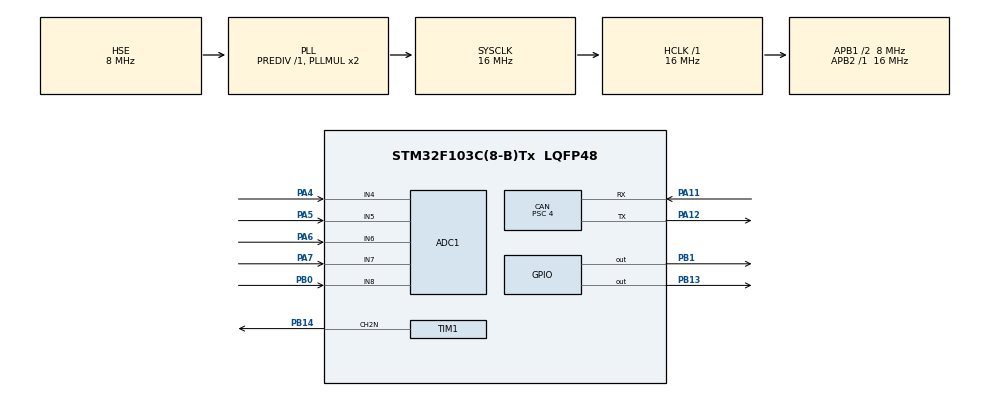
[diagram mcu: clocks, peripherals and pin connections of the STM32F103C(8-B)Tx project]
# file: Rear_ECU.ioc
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ADC1.Channel-2\#ChannelRegularConversion=ADC_CHANNEL_6
ADC1.Channel-3\#ChannelRegularConversion=ADC_CHANNEL_4
ADC1.Channel-4\#ChannelRegularConversion=ADC_CHANNEL_5
ADC1.Channel-5\#ChannelRegularConversion=ADC_CHANNEL_7
ADC1.Channel-6\#ChannelRegularConversion=ADC_CHANNEL_8
ADC1.ContinuousConvMode=ENABLE
ADC1.EnableInjectedConversion=ENABLE
ADC1.NbrOfConversion=5
ADC1.NbrOfConversionFlag=1
ADC1.Rank-2\#ChannelRegularConversion=1
ADC1.Rank-3\#ChannelRegularConversion=2
ADC1.Rank-4\#ChannelRegularConversion=3
ADC1.Rank-5\#ChannelRegularConversion=4
ADC1.Rank-6\#ChannelRegularConversion=5
ADC1.SamplingTime-2\#ChannelRegularConversion=ADC_SAMPLETIME_55CYCLES_5
ADC1.SamplingTime-3\#ChannelRegularConversion=ADC_SAMPLETIME_55CYCLES_5
ADC1.SamplingTime-4\#ChannelRegularConversion=ADC_SAMPLETIME_55CYCLES_5
ADC1.SamplingTime-5\#ChannelRegularConversion=ADC_SAMPLETIME_55CYCLES_5
ADC1.SamplingTime-6\#ChannelRegularConversion=ADC_SAMPLETIME_55CYCLES_5
ADC1.master=1
CAN.BS1=CAN_BS1_15TQ
CAN.BS2=CAN_BS2_2TQ
CAN.CalculateBaudRate=111111
CAN.CalculateTimeBit=9000
CAN.CalculateTimeQuantum=500.0
CAN.NART=ENABLE
CAN.Prescaler=4
Dma.ADC1.0.Direction=DMA_PERIPH_TO_MEMORY
Dma.ADC1.0.Instance=DMA1_Channel1
Dma.ADC1.0.MemDataAlignment=DMA_MDATAALIGN_HALFWORD
Dma.ADC1.0.MemInc=DMA_MINC_ENABLE
Dma.ADC1.0.Mode=DMA_CIRCULAR
Dma.ADC1.0.PeriphDataAlignment=DMA_PDATAALIGN_HALFWORD
Dma.ADC1.0.PeriphInc=DMA_PINC_DISABLE
Dma.ADC1.0.Priority=DMA_PRIORITY_LOW
Dma.Request0=ADC1
Dma.Request1=TIM1_CH2
Dma.TIM1_CH2.1.Direction=DMA_PERIPH_TO_MEMORY
Dma.TIM1_CH2.1.Instance=DMA1_Channel3
Dma.TIM1_CH2.1.MemDataAlignment=DMA_MDATAALIGN_HALFWORD
Dma.TIM1_CH2.1.MemInc=DMA_MINC_ENABLE
Dma.TIM1_CH2.1.Mode=DMA_NORMAL
Dma.TIM1_CH2.1.PeriphDataAlignment=DMA_PDATAALIGN_HALFWORD
Dma.TIM1_CH2.1.PeriphInc=DMA_PINC_DISABLE
Dma.TIM1_CH2.1.Priority=DMA_PRIORITY_LOW
Mcu.Family=STM32F1
Mcu.Name=STM32F103C(8-B)Tx
Mcu.Package=LQFP48
NVIC.ADC1_2_IRQn=true\:0\:0\:false\:false\:true\:true\:true\:true
NVIC.DMA1_Channel1_IRQn=true\:0\:0\:false\:false\:true\:false\:true\:true
NVIC.DMA1_Channel3_IRQn=true\:0\:0\:false\:false\:true\:false\:true\:true
NVIC.PriorityGroup=NVIC_PRIORITYGROUP_4
NVIC.USB_LP_CAN1_RX0_IRQn=true\:0\:0\:false\:false\:true\:true\:true\:true
PA11.Mode=CAN_Activate
PA11.Signal=CAN_RX
PA12.Mode=CAN_Activate
PA12.Signal=CAN_TX
PA13.Mode=Serial_Wire
PA13.Signal=SYS_JTMS-SWDIO
PA14.Mode=Serial_Wire
PA14.Signal=SYS_JTCK-SWCLK
PA4.Signal=ADCx_IN4
PA5.Signal=ADCx_IN5
PA6.Signal=ADCx_IN6
PA7.Signal=ADCx_IN7
PB0.Signal=ADCx_IN8
PB1.Signal=GPIO_Output
PB13.Signal=GPIO_Output
PB14.Mode=PWM Generation2 CH2N
PB14.Signal=TIM1_CH2N
PD0-OSC_IN.Mode=HSE-External-Oscillator
PD0-OSC_IN.Signal=RCC_OSC_IN
PD1-OSC_OUT.Mode=HSE-External-Oscillator
PD1-OSC_OUT.Signal=RCC_OSC_OUT
ProjectManager.HeapSize=0x200
ProjectManager.StackSize=0x400
ProjectManager.TargetToolchain=STM32CubeIDE
RCC.AHBFreq_Value=16000000
RCC.APB1CLKDivider=RCC_HCLK_DIV2
RCC.APB1Freq_Value=8000000
RCC.APB1TimFreq_Value=16000000
RCC.APB2Freq_Value=16000000
RCC.APB2TimFreq_Value=16000000
RCC.HCLKFreq_Value=16000000
RCC.PLLSourceVirtual=RCC_PLLSOURCE_HSE
RCC.SYSCLKFreq_VALUE=16000000
RCC.SYSCLKSource=RCC_SYSCLKSOURCE_PLLCLK
RCC.USBFreq_Value=16000000
SH.ADCx_IN4.0=ADC1_IN4,IN4
SH.ADCx_IN5.0=ADC1_IN5,IN5
SH.ADCx_IN6.0=ADC1_IN6,IN6
SH.ADCx_IN7.0=ADC1_IN7,IN7
SH.ADCx_IN8.0=ADC1_IN8,IN8
TIM1.Channel-PWM\ Generation2\ CH2N=TIM_CHANNEL_2
TIM1.Period=59999
TIM1.Prescaler=11
board=custom

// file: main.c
/* USER CODE BEGIN Header */
/**
  ******************************************************************************
  * @file           : main.c
  * @brief          : Main program body
  ******************************************************************************
  * @attention
  *
  * Copyright (c) 2026 STMicroelectronics.
  * All rights reserved.
  *
  * This software is licensed under terms that can be found in the LICENSE file
  * in the root directory of this software component.
  * If no LICENSE file comes with this software, it is provided AS-IS.
  *
  ******************************************************************************
  */
/* USER CODE END Header */
#include "main.h"

/* USER CODE BEGIN PD */
//----------brake light-----------
#define ADC_BUFF_SIZE 5
#define ADC_BRAKE_INDEX 0

#define Brake_pedal_threshold 150
//------brake light----------

//-----------thermal---------
#define ADC_THERM1_INDEX 1
#define ADC_THERM2_INDEX 2
#define ADC_THERM3_INDEX 3
#define ADC_THERM4_INDEX 4
#define ADC_MAX_VAL 4095      // 12-bit ADC resolution
#define TEMP_MAX_VAL 100.0f      // Max expected stator temp in degrees
#define MDOT_MAX_VAL 0.267f      // Max mass flow rate in kg/s
#define PWM_PERIOD 59999       // PWM Period
#define Table_Size 10
//-----------thermal-----------

/* USER CODE END PD */

ADC_HandleTypeDef hadc1;
DMA_HandleTypeDef hdma_adc1;

CAN_HandleTypeDef hcan;

TIM_HandleTypeDef htim1;
DMA_HandleTypeDef hdma_tim1_ch2;

/* USER CODE BEGIN PV */
//--------brake light--------------
uint16_t adc_buff[ADC_BUFF_SIZE];
volatile uint16_t adc_val=0;
float voltage=0.0f;
//-----------brake light---------

//----------thermals---------------
const float temp_breakpoints[Table_Size] = {0, 50, 55, 60, 65, 70, 75, 80, 85, 90};
const float mdot_data[Table_Size] = {0, 0.005, 0.01, 0.03, 0.06, 0.08, 0.1, 0.1, 0.15, 0.15};

// --- GLOBAL VARIABLES ---
volatile uint32_t adc_raw_value = 0;
float stator_temp = 0.0f;
float target_mdot = 0.0f;
uint32_t pwm_duty_cycle = 0;
//--------thermals-------------

/* USER CODE END PV */

void SystemClock_Config(void);
static void MX_GPIO_Init(void);
static void MX_DMA_Init(void);
static void MX_CAN_Init(void);
static void MX_ADC1_Init(void);
static void MX_TIM1_Init(void);

/* USER CODE BEGIN 0 */
//---------------thermal------------
//Lookup Table Interpolation
float mdot_from_temp(float input_temp) {
	if (input_temp <= temp_breakpoints[0]) {
		return mdot_data[0];
	}
	if (input_temp >= temp_breakpoints[Table_Size - 1]) {
		return mdot_data[Table_Size - 1];
	}
	int i = 0;
	while (temp_breakpoints[i + 1] < input_temp) {
		i++;
	}

	float x0 = temp_breakpoints[i];
	float x1 = temp_breakpoints[i + 1];
	float y0 = mdot_data[i];
	float y1 = mdot_data[i + 1];

	return y0 + ((input_temp - x0) * ((y1 - y0) / (x1 - x0)));
}

// Map Flow Rate to PWM
uint32_t calculate_pwm_duty(float flow_rate) {
	if (flow_rate > MDOT_MAX_VAL) {
		flow_rate = MDOT_MAX_VAL;
	}
	if (flow_rate < 0.0f) {
		flow_rate = 0.0f;
	}
	return (uint32_t) ((flow_rate / MDOT_MAX_VAL) * PWM_PERIOD);
}
//------------thermal--------------------
/* USER CODE END 0 */

int main(void)
{

  /* MCU Configuration--------------------------------------------------------*/

  /* Reset of all peripherals, Initializes the Flash interface and the Systick. */
  HAL_Init();

  /* Configure the system clock */
  SystemClock_Config();

  /* Initialize all configured peripherals */
  MX_GPIO_Init();
  MX_DMA_Init();
  MX_CAN_Init();
  MX_ADC1_Init();
  MX_TIM1_Init();
  /* USER CODE BEGIN 2 */
HAL_ADCEx_Calibration_Start(&hadc1);

HAL_ADC_Start_DMA(&hadc1, (uint32_t*)adc_buff, ADC_BUFF_SIZE);
HAL_TIM_PWM_Start(&htim1,TIM_CHANNEL_2);
  /* USER CODE END 2 */

  /* Infinite loop */
	while (1) {

		/* USER CODE BEGIN 3 */
		//------------ Brake light -----------------
		int sum = 0;

		adc_val = adc_buff[ADC_BRAKE_INDEX];
		voltage = ((float) adc_val * 3.3) / 4095.0f;
		if (adc_val > Brake_pedal_threshold) {
			HAL_GPIO_WritePin(GPIOB, GPIO_PIN_13, GPIO_PIN_SET);
		} else {
			HAL_GPIO_WritePin(GPIOB, GPIO_PIN_13, GPIO_PIN_RESET);
		}
		HAL_Delay(5);
		//---------------brake light --------------------------

		//---------------thermal---------------------

		// READ SENSOR
		float temp_1 = ((float) adc_buff[ADC_THERM1_INDEX] / ADC_MAX_VAL)
				* TEMP_MAX_VAL;
		float temp_2 = ((float) adc_buff[ADC_THERM2_INDEX] / ADC_MAX_VAL)
				* TEMP_MAX_VAL;
		float temp_3 = ((float) adc_buff[ADC_THERM3_INDEX] / ADC_MAX_VAL)
				* TEMP_MAX_VAL;
		float temp_4 = ((float) adc_buff[ADC_THERM4_INDEX] / ADC_MAX_VAL)
				* TEMP_MAX_VAL;
		stator_temp = temp_1;
		if (temp_2 > stator_temp) {
			stator_temp = temp_2;
		}
		if (temp_3 > stator_temp) {
			stator_temp = temp_3;
		}
		if (temp_4 > stator_temp) {
			stator_temp = temp_4;
		}

		// LOGIC (Lookup Table)
		target_mdot = mdot_from_temp(stator_temp);

		// PWM generation
		pwm_duty_cycle = calculate_pwm_duty(target_mdot);
		__HAL_TIM_SET_COMPARE(&htim1, TIM_CHANNEL_2, pwm_duty_cycle);
		//------------------thermal------------
	}
	/* USER CODE END 3 */
}

void SystemClock_Config(void)
{
  RCC_OscInitTypeDef RCC_OscInitStruct = {0};
  RCC_ClkInitTypeDef RCC_ClkInitStruct = {0};
  RCC_PeriphCLKInitTypeDef PeriphClkInit = {0};

  /** Initializes the RCC Oscillators according to the specified parameters
  * in the RCC_OscInitTypeDef structure.
  */
  RCC_OscInitStruct.OscillatorType = RCC_OSCILLATORTYPE_HSE;
  RCC_OscInitStruct.HSEState = RCC_HSE_ON;
  RCC_OscInitStruct.HSEPredivValue = RCC_HSE_PREDIV_DIV1;
  RCC_OscInitStruct.HSIState = RCC_HSI_ON;
  RCC_OscInitStruct.PLL.PLLState = RCC_PLL_ON;
  RCC_OscInitStruct.PLL.PLLSource = RCC_PLLSOURCE_HSE;
  RCC_OscInitStruct.PLL.PLLMUL = RCC_PLL_MUL2;
  if (HAL_RCC_OscConfig(&RCC_OscInitStruct) != HAL_OK)
  {
    Error_Handler();
  }

  /** Initializes the CPU, AHB and APB buses clocks
  */
  RCC_ClkInitStruct.ClockType = RCC_CLOCKTYPE_HCLK|RCC_CLOCKTYPE_SYSCLK
                              |RCC_CLOCKTYPE_PCLK1|RCC_CLOCKTYPE_PCLK2;
  RCC_ClkInitStruct.SYSCLKSource = RCC_SYSCLKSOURCE_PLLCLK;
  RCC_ClkInitStruct.AHBCLKDivider = RCC_SYSCLK_DIV1;
  RCC_ClkInitStruct.APB1CLKDivider = RCC_HCLK_DIV2;
  RCC_ClkInitStruct.APB2CLKDivider = RCC_HCLK_DIV1;

  if (HAL_RCC_ClockConfig(&RCC_ClkInitStruct, FLASH_LATENCY_0) != HAL_OK)
  {
    Error_Handler();
  }
  PeriphClkInit.PeriphClockSelection = RCC_PERIPHCLK_ADC;
  PeriphClkInit.AdcClockSelection = RCC_ADCPCLK2_DIV2;
  if (HAL_RCCEx_PeriphCLKConfig(&PeriphClkInit) != HAL_OK)
  {
    Error_Handler();
  }
}

static void MX_ADC1_Init(void)
{

  ADC_ChannelConfTypeDef sConfig = {0};

  /** Common config
  */
  hadc1.Instance = ADC1;
  hadc1.Init.ScanConvMode = ADC_SCAN_ENABLE;
  hadc1.Init.ContinuousConvMode = ENABLE;
  hadc1.Init.DiscontinuousConvMode = DISABLE;
  hadc1.Init.ExternalTrigConv = ADC_SOFTWARE_START;
  hadc1.Init.DataAlign = ADC_DATAALIGN_RIGHT;
  hadc1.Init.NbrOfConversion = 5;
  if (HAL_ADC_Init(&hadc1) != HAL_OK)
  {
    Error_Handler();
  }

  /** Configure Regular Channel
  */
  sConfig.Channel = ADC_CHANNEL_6;
  sConfig.Rank = ADC_REGULAR_RANK_1;
  sConfig.SamplingTime = ADC_SAMPLETIME_55CYCLES_5;
  if (HAL_ADC_ConfigChannel(&hadc1, &sConfig) != HAL_OK)
  {
    Error_Handler();
  }

  /** Configure Regular Channel
  */
  sConfig.Channel = ADC_CHANNEL_4;
  sConfig.Rank = ADC_REGULAR_RANK_2;
  if (HAL_ADC_ConfigChannel(&hadc1, &sConfig) != HAL_OK)
  {
    Error_Handler();
  }

  /** Configure Regular Channel
  */
  sConfig.Channel = ADC_CHANNEL_5;
  sConfig.Rank = ADC_REGULAR_RANK_3;
  if (HAL_ADC_ConfigChannel(&hadc1, &sConfig) != HAL_OK)
  {
    Error_Handler();
  }

  /** Configure Regular Channel
  */
  sConfig.Channel = ADC_CHANNEL_7;
  sConfig.Rank = ADC_REGULAR_RANK_4;
  if (HAL_ADC_ConfigChannel(&hadc1, &sConfig) != HAL_OK)
  {
    Error_Handler();
  }

  /** Configure Regular Channel
  */
  sConfig.Channel = ADC_CHANNEL_8;
  sConfig.Rank = ADC_REGULAR_RANK_5;
  if (HAL_ADC_ConfigChannel(&hadc1, &sConfig) != HAL_OK)
  {
    Error_Handler();
  }

}

static void MX_CAN_Init(void)
{

  hcan.Instance = CAN1;
  hcan.Init.Prescaler = 4;
  hcan.Init.Mode = CAN_MODE_NORMAL;
  hcan.Init.SyncJumpWidth = CAN_SJW_1TQ;
  hcan.Init.TimeSeg1 = CAN_BS1_15TQ;
  hcan.Init.TimeSeg2 = CAN_BS2_2TQ;
  hcan.Init.TimeTriggeredMode = DISABLE;
  hcan.Init.AutoBusOff = DISABLE;
  hcan.Init.AutoWakeUp = DISABLE;
  hcan.Init.AutoRetransmission = ENABLE;
  hcan.Init.ReceiveFifoLocked = DISABLE;
  hcan.Init.TransmitFifoPriority = DISABLE;
  if (HAL_CAN_Init(&hcan) != HAL_OK)
  {
    Error_Handler();
  }

}

static void MX_TIM1_Init(void)
{

  TIM_MasterConfigTypeDef sMasterConfig = {0};
  TIM_OC_InitTypeDef sConfigOC = {0};
  TIM_BreakDeadTimeConfigTypeDef sBreakDeadTimeConfig = {0};

  htim1.Instance = TIM1;
  htim1.Init.Prescaler = 11;
  htim1.Init.CounterMode = TIM_COUNTERMODE_UP;
  htim1.Init.Period = 59999;
  htim1.Init.ClockDivision = TIM_CLOCKDIVISION_DIV1;
  htim1.Init.RepetitionCounter = 0;
  htim1.Init.AutoReloadPreload = TIM_AUTORELOAD_PRELOAD_DISABLE;
  if (HAL_TIM_PWM_Init(&htim1) != HAL_OK)
  {
    Error_Handler();
  }
  sMasterConfig.MasterOutputTrigger = TIM_TRGO_RESET;
  sMasterConfig.MasterSlaveMode = TIM_MASTERSLAVEMODE_DISABLE;
  if (HAL_TIMEx_MasterConfigSynchronization(&htim1, &sMasterConfig) != HAL_OK)
  {
    Error_Handler();
  }
  sConfigOC.OCMode = TIM_OCMODE_PWM1;
  sConfigOC.Pulse = 0;
  sConfigOC.OCPolarity = TIM_OCPOLARITY_HIGH;
  sConfigOC.OCNPolarity = TIM_OCNPOLARITY_HIGH;
  sConfigOC.OCFastMode = TIM_OCFAST_DISABLE;
  sConfigOC.OCIdleState = TIM_OCIDLESTATE_RESET;
  sConfigOC.OCNIdleState = TIM_OCNIDLESTATE_RESET;
  if (HAL_TIM_PWM_ConfigChannel(&htim1, &sConfigOC, TIM_CHANNEL_2) != HAL_OK)
  {
    Error_Handler();
  }
  sBreakDeadTimeConfig.OffStateRunMode = TIM_OSSR_DISABLE;
  sBreakDeadTimeConfig.OffStateIDLEMode = TIM_OSSI_DISABLE;
  sBreakDeadTimeConfig.LockLevel = TIM_LOCKLEVEL_OFF;
  sBreakDeadTimeConfig.DeadTime = 0;
  sBreakDeadTimeConfig.BreakState = TIM_BREAK_DISABLE;
  sBreakDeadTimeConfig.BreakPolarity = TIM_BREAKPOLARITY_HIGH;
  sBreakDeadTimeConfig.AutomaticOutput = TIM_AUTOMATICOUTPUT_DISABLE;
  if (HAL_TIMEx_ConfigBreakDeadTime(&htim1, &sBreakDeadTimeConfig) != HAL_OK)
  {
    Error_Handler();
  }
  HAL_TIM_MspPostInit(&htim1);

}

static void MX_DMA_Init(void)
{

  /* DMA controller clock enable */
  __HAL_RCC_DMA1_CLK_ENABLE();

  /* DMA interrupt init */
  /* DMA1_Channel1_IRQn interrupt configuration */
  HAL_NVIC_SetPriority(DMA1_Channel1_IRQn, 0, 0);
  HAL_NVIC_EnableIRQ(DMA1_Channel1_IRQn);
  /* DMA1_Channel3_IRQn interrupt configuration */
  HAL_NVIC_SetPriority(DMA1_Channel3_IRQn, 0, 0);
  HAL_NVIC_EnableIRQ(DMA1_Channel3_IRQn);

}

static void MX_GPIO_Init(void)
{
  GPIO_InitTypeDef GPIO_InitStruct = {0};

  /* GPIO Ports Clock Enable */
  __HAL_RCC_GPIOD_CLK_ENABLE();
  __HAL_RCC_GPIOA_CLK_ENABLE();
  __HAL_RCC_GPIOB_CLK_ENABLE();

  /*Configure GPIO pin Output Level */
  HAL_GPIO_WritePin(GPIOB, GPIO_PIN_1|GPIO_PIN_13, GPIO_PIN_RESET);

  /*Configure GPIO pins : PB1 PB13 */
  GPIO_InitStruct.Pin = GPIO_PIN_1|GPIO_PIN_13;
  GPIO_InitStruct.Mode = GPIO_MODE_OUTPUT_PP;
  GPIO_InitStruct.Pull = GPIO_NOPULL;
  GPIO_InitStruct.Speed = GPIO_SPEED_FREQ_LOW;
  HAL_GPIO_Init(GPIOB, &GPIO_InitStruct);

}

void Error_Handler(void)
{
  __disable_irq();
  while (1)
  {
  }
}
